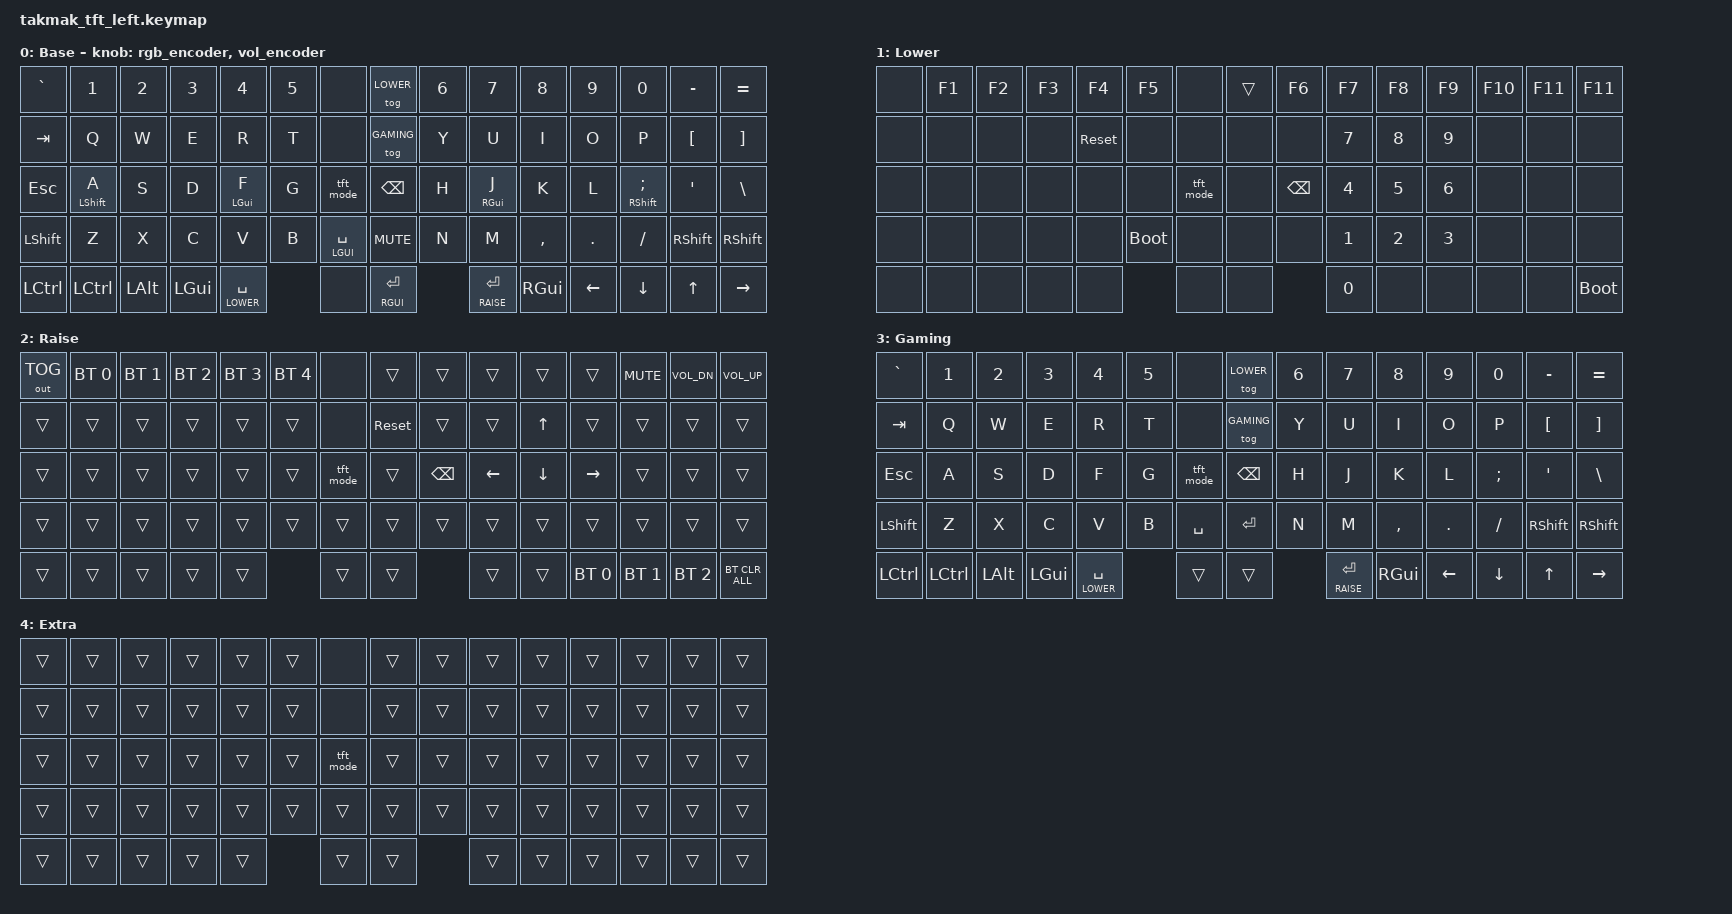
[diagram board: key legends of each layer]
/*
 * Copyright (c) 2020 The ZMK Contributors
 *
 * SPDX-License-Identifier: MIT
 */

#include <behaviors.dtsi>
#include <dt-bindings/zmk/keys.h>
#include <dt-bindings/zmk/bt.h>
#include <dt-bindings/zmk/rgb.h>
#include <dt-bindings/zmk/ext_power.h>
#include <dt-bindings/zmk/outputs.h>

// https://github.com/urob/zmk-config
// #include "../zmk-nodefree-config/helper.h"

// RC(0)  RC(1)  RC(2)  RC(3)  RC(4)  RC(5)  RC(6)      RC(7)  RC(8)  RC(9)  RC(10) RC(11) RC(12) RC(13) RC(14)
// RC(15) RC(16) RC(17) RC(18) RC(19) RC(20) RC(21)     RC(22) RC(23) RC(24) RC(25) RC(26) RC(27) RC(28) RC(29)
// RC(30) RC(31) RC(32) RC(33) RC(34) RC(35) RC(36)     RC(37) RC(38) RC(39) RC(40) RC(41) RC(42) RC(43) RC(44)
// RC(45) RC(46) RC(47) RC(48) RC(49) RC(50) RC(51)     RC(52) RC(53) RC(54) RC(55) RC(56) RC(57) RC(58) RC(59)
// RC(60) RC(61) RC(62) RC(63) RC(64)        RC(65)     RC(66)        RC(67) RC(68) RC(69) RC(70) RC(71) RC(72)

#define KEYS_L 0 1 2 3 4 5 6 15 16 17 18 19 20 21 30 31 32 33 34 35 36 45 46 47 48 49 50 51  // left-hand keys
#define KEYS_R 7 8 9 10 11 12 13 14 22 23 24 25 26 27 28 29 37 38 39 40 41 42 43 44 52 53 54 55 56 57 58 59  // right-hand keys
#define THUMBS 45 60 61 62 63 66 67 68 69 70 58 59 // thumb keys

/* left-hand HRMs */
// ZMK_BEHAVIOR(hml, hold_tap,
//     flavor = "balanced";
//     tapping-term-ms = <200>;
//     quick-tap-ms = <175>;                // repeat on tap-into-hold
//     global-quick-tap;
//     bindings = <&kp>, <&kp>;
//     hold-trigger-key-positions = <KEYS_R THUMBS>;
// )

/* right-hand HRMs */
// ZMK_BEHAVIOR(hmr, hold_tap,
//     flavor = "balanced";
//     tapping-term-ms = <200>;
//     quick-tap-ms = <175>;                // repeat on tap-into-hold
//     global-quick-tap;
//     bindings = <&kp>, <&kp>;
//     hold-trigger-key-positions = <KEYS_L THUMBS>;
// )

#define DEFAULT 0
#define LOWER   1
#define RAISE   2
#define GAMING  3

#define ZOOMA LC(LA(LS(LG(A))))
#define ZOOMV LC(LA(LS(LG(V))))
#define COMBO LA(LS(LGUI))

/ {
    behaviors {
        tft_mode: tft_mode {
            compatible = "takmak,behavior-tft-mode";
            #binding-cells = <0>;
        };
        rgb_encoder: left_encoder {
            compatible = "zmk,behavior-sensor-rotate";
            #sensor-binding-cells = <0>;
            bindings = <&rgb_ug RGB_BRI>, <&rgb_ug RGB_BRD>;
        };

        vol_encoder: right_encoder {
            compatible = "zmk,behavior-sensor-rotate";
            #sensor-binding-cells = <0>;
            bindings = <&kp K_VOL_UP>, <&kp K_VOL_DN>;
        };

        hml: left_positional_hold_tap {
            compatible = "zmk,behavior-hold-tap";
            #binding-cells = < 2>;
            flavor = "balanced";
            tapping-term-ms = <200>; // <---[[produces tap if held longer than tapping-term-ms]]
            quick-tap-ms = <100>;
            bindings = <&kp>, <&kp>;
            hold-trigger-key-positions = <KEYS_R THUMBS>;
        };

        hmr: right_positional_hold_tap {
            compatible = "zmk,behavior-hold-tap";
            #binding-cells = < 2>;
            flavor = "balanced";
            tapping-term-ms = <200>; // <---[[produces tap if held longer than tapping-term-ms]]
            quick-tap-ms = <100>;
            bindings = <&kp>, <&kp>;
            hold-trigger-key-positions = <KEYS_L THUMBS>;
        };
    };

    keymap {
        compatible = "zmk,keymap";

        default_layer {
            display-name = "Base";

            sensor-bindings = <&rgb_encoder &vol_encoder>;

            bindings = <
&kp GRAVE     &kp N1          &kp N2      &kp N3       &kp N4            &kp N5    &none                     &tog LOWER       &kp N6   &kp N7          &kp N8      &kp N9     &kp N0             &kp MINUS    &kp EQUAL
&kp TAB       &kp Q           &kp W       &kp E        &kp R             &kp T     &none                     &tog GAMING      &kp Y    &kp U           &kp I       &kp O      &kp P              &kp LBKT     &kp RBKT
&kp ESC       &hml LSHIFT A   &kp S       &kp D        &hml LGUI F       &kp G     &tft_mode                 &kp BSPC         &kp H    &hmr RGUI J     &kp K       &kp L      &hmr RSHIFT SEMI   &kp SQT      &kp BSLH
&kp LSHFT     &kp Z           &kp X       &kp C        &kp V             &kp B     &lt LGUI SPACE            &kp K_MUTE       &kp N    &kp M           &kp COMMA   &kp DOT    &kp FSLH           &kp RSHIFT   &kp RSHIFT
&kp LCTRL     &kp LCTRL       &kp LALT    &kp LGUI     &lt LOWER SPACE             &none                     &lt RGUI RET              &lt RAISE RET   &kp RGUI    &kp LEFT   &kp DOWN           &kp UP       &kp RIGHT
>; // Do I really need to &lt here?
        };

        lower_layer {
            display-name = "Lower";

            bindings = <
&none        &kp F1   &kp F2            &kp F3              &kp F4       &kp F5        &none                &trans   &kp F6     &kp F7   &kp F8   &kp F9    &kp F10   &kp F11   &kp F11
&none        &none    &none             &none   &sys_reset   &none         &none                &none   &none      &kp N7   &kp N8   &kp N9    &none     &none    &none
&none        &none    &none    &none               &none        &none         &tft_mode                 &none   &kp BSPC   &kp N4   &kp N5   &kp N6    &none     &none    &none
&none        &none    &none             &none               &none        &bootloader   &none                &none   &none      &kp N1   &kp N2   &kp N3    &none     &none    &none
&none        &none    &none             &none               &none                      &none                &none              &kp N0   &none    &none     &none     &none    &bootloader
>;
        };

        raise_layer {
            display-name = "Raise";

            bindings = <
&out OUT_TOG      &bt BT_SEL 0  &bt BT_SEL 1 &bt BT_SEL 2 &bt BT_SEL 3    &bt BT_SEL 4   &none          &trans       &trans       &trans       &trans    &trans         &kp K_MUTE    &kp C_VOL_DN &kp C_VOL_UP
&trans            &trans        &trans       &trans       &trans          &trans         &none          &sys_reset   &trans       &trans       &kp UP    &trans         &trans        &trans       &trans
&trans            &trans        &trans       &trans       &trans          &trans         &tft_mode                 &trans       &kp BSPC     &kp LEFT     &kp DOWN  &kp RIGHT      &trans        &trans       &trans
&trans            &trans        &trans       &trans       &trans          &trans         &trans         &trans       &trans       &trans       &trans    &trans         &trans        &trans        &trans
&trans            &trans        &trans       &trans       &trans                         &trans         &trans                    &trans       &trans    &bt BT_SEL 0   &bt BT_SEL 1  &bt BT_SEL 2  &bt BT_CLR_ALL
>;
        };

        gaming_layer {
            display-name = "Gaming";

            bindings = <
&kp GRAVE     &kp N1      &kp N2     &kp N3     &kp N4            &kp N5   &none                &tog LOWER     &kp N6   &kp N7          &kp N8      &kp N9     &kp N0     &kp MINUS    &kp EQUAL
&kp TAB       &kp Q       &kp W      &kp E      &kp R             &kp T    &none                &tog GAMING    &kp Y    &kp U           &kp I       &kp O      &kp P      &kp LBKT     &kp RBKT
&kp ESC       &kp A       &kp S      &kp D      &kp F             &kp G    &tft_mode                 &kp BSPC       &kp H    &kp J           &kp K       &kp L      &kp SEMI   &kp SQT      &kp BSLH
&kp LSHFT     &kp Z       &kp X      &kp C      &kp V             &kp B    &kp SPACE            &kp RET   &kp N    &kp M           &kp COMMA   &kp DOT    &kp FSLH   &kp RSHIFT   &kp RSHIFT
&kp LCTRL     &kp LCTRL   &kp LALT   &kp LGUI   &lt LOWER SPACE            &trans               &trans                  &lt RAISE RET   &kp RGUI    &kp LEFT   &kp DOWN   &kp UP       &kp RIGHT
>;
        };

        extra_layer {
            display-name = "Extra";

            bindings = <
&trans  &trans  &trans  &trans  &trans   &trans   &none          &trans  &trans  &trans  &trans  &trans  &trans  &trans  &trans
&trans  &trans  &trans  &trans  &trans   &trans   &none          &trans  &trans  &trans  &trans  &trans  &trans  &trans  &trans
&trans  &trans  &trans  &trans  &trans   &trans   &tft_mode                 &trans  &trans  &trans  &trans  &trans  &trans  &trans  &trans
&trans  &trans  &trans  &trans  &trans   &trans   &trans         &trans  &trans  &trans  &trans  &trans  &trans  &trans  &trans
&trans  &trans  &trans  &trans  &trans            &trans         &trans          &trans  &trans  &trans  &trans  &trans  &trans
>;
        };
    };
};

&led_strip {
    chain-length = <40>;
};
